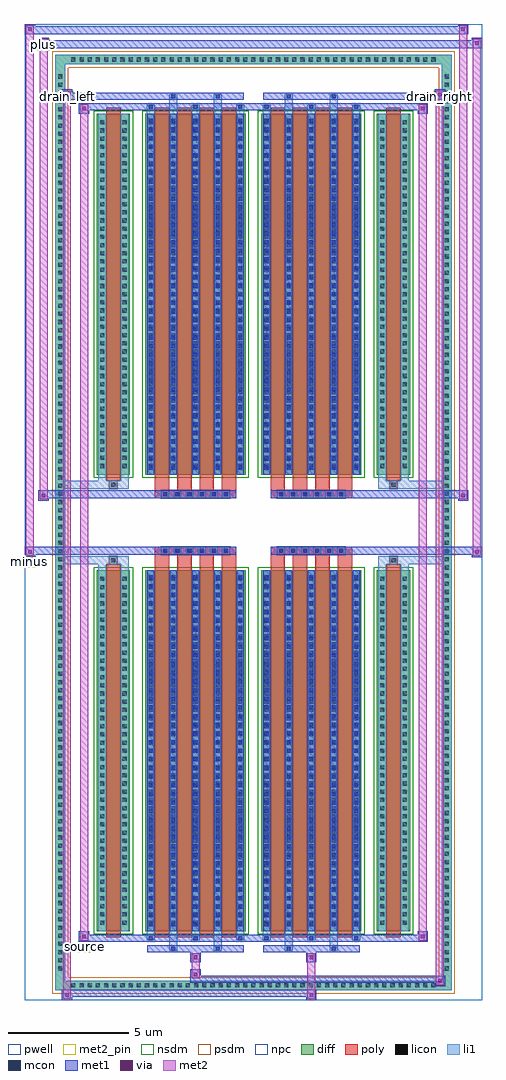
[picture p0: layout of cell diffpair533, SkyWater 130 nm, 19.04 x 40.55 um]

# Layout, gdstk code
import gdstk
lib = gdstk.Library(unit=1e-6, precision=5e-09)
def R(c, l, rs):  # rectangles x0, y0, x1, y1
    for r in rs: c.add(gdstk.rectangle(r[:2], r[2:], *l))
def A(c, l, x, y, w, h, nx, ny, dx, dy):  # array of equal rectangles
    R(c, l, [(x+i*dx, y+j*dy, x+i*dx+w, y+j*dy+h) for i in range(nx) for j in range(ny)])
def P(c, l, *ps):  # polygons
    for p in ps: c.add(gdstk.Polygon(p, *l))
pwell = (64, 44)
diff = (65, 20)
poly = (66, 20)
licon = (66, 44)
li1 = (67, 20)
mcon = (67, 44)
met1 = (68, 20)
via = (68, 44)
met2_pin = (69, 16)
met2 = (69, 20)
nsdm = (93, 44)
psdm = (94, 20)
npc = (95, 20)

diffpair533 = lib.new_cell('diffpair533')
R(diffpair533, pwell, [(-9.5,-19.84,9.5,20.71), (-6.82,-18.03,-0.01,-0.805), (0.01,-18.03,6.82,-0.805), (-6.82,0.805,-0.01,18.03), (0.01,0.805,6.82,18.03)])
A(diffpair533, diff, -7.685, -19.44, 0.41, 0.41, 45, 2, 0.34, 38.47)
A(diffpair533, diff, -8.23, -18.735, 0.41, 0.41, 1, 110, 0, 0.34)
A(diffpair533, diff, 7.82, -18.735, 0.41, 0.41, 1, 110, 0, 0.34)
R(diffpair533, diff, [(-7.685,-19.44,7.685,-19.03), (-8.23,-18.735,-7.82,18.735), (7.82,-18.735,8.23,18.735), (-6.51,-16.985,-5.13,-1.985), (-4.49,-16.985,-0.32,-1.985), (0.32,-16.985,4.49,-1.985), (5.13,-16.985,6.51,-1.985), (-6.51,1.985,-5.13,16.985), (-4.49,1.985,-0.32,16.985), (0.32,1.985,4.49,16.985), (5.13,1.985,6.51,16.985), (-7.685,19.03,7.685,19.44)])
P(diffpair533, diff, [(8.23,19.44),(-8.23,19.44),(-8.23,-19.03),(-7.82,-19.03),(-7.82,19.03),(7.82,19.03),(7.82,-19.03),(-7.82,-19.03),(-8.23,-19.03),(-8.23,-19.44),(8.23,-19.44)])
A(diffpair533, poly, -4.1, -17.235, 0.6, 15.5, 4, 2, 0.93, 18.97)
A(diffpair533, poly, 0.71, -17.235, 0.6, 15.5, 4, 2, 0.93, 18.97)
A(diffpair533, poly, -4.1, -1.735, 0.6, 0.4, 4, 2, 0.93, 3.07)
A(diffpair533, poly, 0.71, -1.735, 0.6, 0.4, 4, 2, 0.93, 3.07)
A(diffpair533, poly, -3.82, -1.335, 0.33, 0.33, 6, 2, 0.5, 2.34)
A(diffpair533, poly, 0.99, -1.335, 0.33, 0.33, 6, 2, 0.5, 2.34)
R(diffpair533, poly, [(-6.12,-17.235,-5.52,-1.735), (5.52,-17.235,6.12,-1.735), (-5.985,-1.735,-5.655,-1.405), (-5.985,-1.735,-5.655,-1.405), (5.655,-1.735,5.985,-1.405), (5.655,-1.735,5.985,-1.405), (-4.1,-1.335,-0.71,-1.005), (0.71,-1.335,4.1,-1.005), (-4.1,1.005,-0.71,1.335), (0.71,1.005,4.1,1.335), (-5.985,1.405,-5.655,1.735), (-5.985,1.405,-5.655,1.735), (5.655,1.405,5.985,1.735), (5.655,1.405,5.985,1.735), (-6.12,1.735,-5.52,17.235), (5.52,1.735,6.12,17.235)])
A(diffpair533, licon, -7.565, -19.32, 0.17, 0.17, 45, 2, 0.34, 38.47)
A(diffpair533, licon, -8.11, -18.615, 0.17, 0.17, 1, 110, 0, 0.34)
A(diffpair533, licon, 7.94, -18.615, 0.17, 0.17, 1, 110, 0, 0.34)
A(diffpair533, licon, -6.37, -16.71, 0.17, 0.17, 1, 43, 0, 0.34)
A(diffpair533, licon, -5.44, -16.71, 0.17, 0.17, 1, 43, 0, 0.34)
A(diffpair533, licon, -4.35, -16.71, 0.17, 0.17, 5, 43, 0.93, 0.34)
A(diffpair533, licon, 0.46, -16.71, 0.17, 0.17, 5, 43, 0.93, 0.34)
A(diffpair533, licon, 5.27, -16.71, 0.17, 0.17, 1, 43, 0, 0.34)
A(diffpair533, licon, 6.2, -16.71, 0.17, 0.17, 1, 43, 0, 0.34)
A(diffpair533, licon, -3.74, -1.255, 0.17, 0.17, 6, 2, 0.5, 2.34)
A(diffpair533, licon, 1.07, -1.255, 0.17, 0.17, 6, 2, 0.5, 2.34)
A(diffpair533, licon, -6.37, 2.26, 0.17, 0.17, 1, 43, 0, 0.34)
A(diffpair533, licon, -5.44, 2.26, 0.17, 0.17, 1, 43, 0, 0.34)
A(diffpair533, licon, -4.35, 2.26, 0.17, 0.17, 5, 43, 0.93, 0.34)
A(diffpair533, licon, 0.46, 2.26, 0.17, 0.17, 5, 43, 0.93, 0.34)
A(diffpair533, licon, 5.27, 2.26, 0.17, 0.17, 1, 43, 0, 0.34)
A(diffpair533, licon, 6.2, 2.26, 0.17, 0.17, 1, 43, 0, 0.34)
R(diffpair533, licon, [(-5.905,-1.655,-5.735,-1.485), (5.735,-1.655,5.905,-1.485), (-5.905,1.485,-5.735,1.655), (5.735,1.485,5.905,1.655)])
A(diffpair533, li1, -7.645, -19.4, 0.33, 0.33, 45, 2, 0.34, 38.47)
A(diffpair533, li1, -8.19, -18.695, 0.33, 0.33, 1, 110, 0, 0.34)
A(diffpair533, li1, 7.86, -18.695, 0.33, 0.33, 1, 110, 0, 0.34)
A(diffpair533, li1, -4.43, -17.36, 0.33, 0.375, 3, 2, 1.86, 34.345)
A(diffpair533, li1, -4.35, -17.36, 0.17, 0.17, 3, 2, 1.86, 34.55)
A(diffpair533, li1, 0.38, -17.36, 0.33, 0.375, 3, 2, 1.86, 34.345)
A(diffpair533, li1, 0.46, -17.36, 0.17, 0.17, 3, 2, 1.86, 34.55)
A(diffpair533, li1, -4.43, -16.985, 0.33, 15, 5, 2, 0.93, 18.97)
A(diffpair533, li1, 0.38, -16.985, 0.33, 15, 5, 2, 0.93, 18.97)
A(diffpair533, li1, -6.45, -16.79, 0.33, 0.33, 1, 43, 0, 0.34)
A(diffpair533, li1, -5.52, -16.79, 0.33, 0.33, 1, 43, 0, 0.34)
A(diffpair533, li1, -4.43, -16.79, 0.33, 0.33, 5, 43, 0.93, 0.34)
A(diffpair533, li1, 0.38, -16.79, 0.33, 0.33, 5, 43, 0.93, 0.34)
A(diffpair533, li1, 5.19, -16.79, 0.33, 0.33, 1, 43, 0, 0.34)
A(diffpair533, li1, 6.12, -16.79, 0.33, 0.33, 1, 43, 0, 0.34)
A(diffpair533, li1, -4.35, -16.77, 0.17, 0.17, 5, 41, 0.93, 0.36)
A(diffpair533, li1, -4.35, -16.77, 0.17, 14.57, 5, 2, 0.93, 18.97)
A(diffpair533, li1, 0.46, -16.77, 0.17, 0.17, 5, 41, 0.93, 0.36)
A(diffpair533, li1, 0.46, -16.77, 0.17, 14.57, 5, 2, 0.93, 18.97)
A(diffpair533, li1, -3.82, -1.335, 0.33, 0.33, 6, 2, 0.5, 2.34)
A(diffpair533, li1, 0.99, -1.335, 0.33, 0.33, 6, 2, 0.5, 2.34)
A(diffpair533, li1, -6.45, 2.18, 0.33, 0.33, 1, 43, 0, 0.34)
A(diffpair533, li1, -5.52, 2.18, 0.33, 0.33, 1, 43, 0, 0.34)
A(diffpair533, li1, -4.43, 2.18, 0.33, 0.33, 5, 43, 0.93, 0.34)
A(diffpair533, li1, 0.38, 2.18, 0.33, 0.33, 5, 43, 0.93, 0.34)
A(diffpair533, li1, 5.19, 2.18, 0.33, 0.33, 1, 43, 0, 0.34)
A(diffpair533, li1, 6.12, 2.18, 0.33, 0.33, 1, 43, 0, 0.34)
A(diffpair533, li1, -4.35, 2.2, 0.17, 0.17, 5, 41, 0.93, 0.36)
A(diffpair533, li1, 0.46, 2.2, 0.17, 0.17, 5, 41, 0.93, 0.36)
R(diffpair533, li1, [(-8.23,-19.44,-7.82,-19.03), (-8.23,-19.44,-7.82,-19.03), (-7.82,-19.44,7.82,-19.03), (7.82,-19.44,8.23,-19.03), (7.82,-19.44,8.23,-19.03), (-8.23,-19.03,-7.82,19.03), (7.82,-19.03,8.23,19.03), (-3.5,-17.79,-3.17,-16.985), (-3.42,-17.79,-3.25,-17.62), (-1.64,-17.79,-1.31,-16.985), (-1.56,-17.79,-1.39,-17.62), (1.31,-17.79,1.64,-16.985), (1.39,-17.79,1.56,-17.62), (3.17,-17.79,3.5,-16.985), (3.25,-17.79,3.42,-17.62), (-6.45,-16.985,-6.12,-1.985), (-5.52,-16.985,-5.19,-1.985), (5.19,-16.985,5.52,-1.985), (6.12,-16.985,6.45,-1.985), (-6.45,-1.985,-6.12,-1.405), (-5.52,-1.985,-5.19,-1.405), (5.19,-1.985,5.52,-1.405), (6.12,-1.985,6.45,-1.405), (-8.23,-1.735,-5.985,-1.405), (-6.45,-1.735,-5.985,-1.405), (-5.985,-1.735,-5.655,-1.405), (-5.655,-1.735,-5.19,-1.405), (5.19,-1.735,5.655,-1.405), (5.655,-1.735,5.985,-1.405), (5.655,-1.735,8.23,-1.405), (5.985,-1.735,6.45,-1.405), (-8.23,1.405,-5.985,1.735), (-6.45,1.405,-5.985,1.735), (-6.45,1.405,-6.12,1.985), (-5.985,1.405,-5.655,1.735), (-5.655,1.405,-5.19,1.735), (-5.52,1.405,-5.19,1.985), (5.19,1.405,5.655,1.735), (5.19,1.405,5.52,1.985), (5.655,1.405,5.985,1.735), (5.655,1.405,8.23,1.735), (5.985,1.405,6.45,1.735), (6.12,1.405,6.45,1.985), (-6.45,1.985,-6.12,16.985), (-5.52,1.985,-5.19,16.985), (5.19,1.985,5.52,16.985), (6.12,1.985,6.45,16.985), (-3.5,16.985,-3.17,17.79), (-1.64,16.985,-1.31,17.79), (1.31,16.985,1.64,17.79), (3.17,16.985,3.5,17.79), (-3.42,17.62,-3.25,17.79), (-1.56,17.62,-1.39,17.79), (1.39,17.62,1.56,17.79), (3.25,17.62,3.42,17.79), (-8.23,19.03,-7.82,19.44), (-8.23,19.03,-7.82,19.44), (-7.82,19.03,7.82,19.44), (7.82,19.03,8.23,19.44), (7.82,19.03,8.23,19.44)])
A(diffpair533, mcon, -4.35, -17.36, 0.17, 0.17, 3, 2, 1.86, 34.55)
A(diffpair533, mcon, 0.46, -17.36, 0.17, 0.17, 3, 2, 1.86, 34.55)
A(diffpair533, mcon, -4.35, -16.77, 0.17, 0.17, 5, 41, 0.93, 0.36)
A(diffpair533, mcon, 0.46, -16.77, 0.17, 0.17, 5, 41, 0.93, 0.36)
A(diffpair533, mcon, -3.74, -1.255, 0.17, 0.17, 6, 2, 0.5, 2.34)
A(diffpair533, mcon, 1.07, -1.255, 0.17, 0.17, 6, 2, 0.5, 2.34)
A(diffpair533, mcon, -4.35, 2.2, 0.17, 0.17, 5, 41, 0.93, 0.36)
A(diffpair533, mcon, 0.46, 2.2, 0.17, 0.17, 5, 41, 0.93, 0.36)
R(diffpair533, mcon, [(-3.42,-17.79,-3.25,-17.62), (-1.56,-17.79,-1.39,-17.62), (1.39,-17.79,1.56,-17.62), (3.25,-17.79,3.42,-17.62), (-3.42,17.62,-3.25,17.79), (-1.56,17.62,-1.39,17.79), (1.39,17.62,1.56,17.79), (3.25,17.62,3.42,17.79)])
A(diffpair533, met1, -4.41, -17.42, 0.29, 0.29, 3, 2, 1.86, 34.55)
A(diffpair533, met1, 0.4, -17.42, 0.29, 0.29, 3, 2, 1.86, 34.55)
A(diffpair533, met1, -4.41, -16.985, 0.29, 15, 5, 2, 0.93, 18.97)
A(diffpair533, met1, 0.4, -16.985, 0.29, 15, 5, 2, 0.93, 18.97)
A(diffpair533, met1, -4.41, -16.83, 0.29, 0.29, 5, 41, 0.93, 0.36)
A(diffpair533, met1, 0.4, -16.83, 0.29, 0.29, 5, 41, 0.93, 0.36)
A(diffpair533, met1, -3.8, -1.315, 0.29, 0.29, 6, 2, 0.5, 2.34)
A(diffpair533, met1, 1.01, -1.315, 0.29, 0.29, 6, 2, 0.5, 2.34)
A(diffpair533, met1, -4.41, 2.14, 0.29, 0.29, 5, 41, 0.93, 0.36)
A(diffpair533, met1, 0.4, 2.14, 0.29, 0.29, 5, 41, 0.93, 0.36)
R(diffpair533, met1, [(-7.96,-19.84,-7.53,-19.41), (2.19,-19.84,2.62,-19.41), (-7.96,-19.7,2.62,-19.41), (7.53,-19.27,7.96,-18.84), (-2.62,-19.13,7.96,-18.84), (-2.62,-18.99,-2.19,-18.56), (-2.62,-18.28,-2.19,-17.85), (2.19,-18.28,2.62,-17.85), (-4.41,-17.85,-0.4,-17.56), (-3.48,-17.85,-3.19,-17.56), (-1.62,-17.85,-1.33,-17.56), (0.4,-17.85,4.41,-17.56), (1.33,-17.85,1.62,-17.56), (3.19,-17.85,3.48,-17.56), (-7.25,-17.42,-6.82,-16.99), (-7.25,-17.42,-4.41,-17.13), (-4.41,-17.42,-0.4,-17.13), (-0.4,-17.42,0.4,-17.13), (0.4,-17.42,4.41,-17.13), (4.41,-17.42,7.25,-17.13), (6.82,-17.42,7.25,-16.99), (-9.5,-1.435,-9.07,-1.005), (9.07,-1.435,9.5,-1.005), (-9.5,-1.335,-0.71,-1.005), (-4.1,-1.335,-0.71,-1.005), (0.71,-1.335,4.1,-1.005), (0.71,-1.335,9.5,-1.005), (-8.93,0.905,-8.5,1.335), (8.5,0.905,8.93,1.335), (-8.93,1.005,-4.1,1.335), (-4.1,1.005,-0.71,1.335), (0.71,1.005,4.1,1.335), (4.1,1.005,8.93,1.335), (-7.25,16.99,-6.82,17.42), (6.82,16.99,7.25,17.42), (-7.25,17.13,-4.41,17.42), (-4.41,17.13,-0.4,17.42), (-0.4,17.13,0.4,17.42), (0.4,17.13,4.41,17.42), (4.41,17.13,7.25,17.42), (-7.96,17.56,-7.53,17.99), (-7.96,17.56,-4.41,17.85), (-4.41,17.56,-0.4,17.85), (-3.48,17.56,-3.19,17.85), (-1.62,17.56,-1.33,17.85), (0.4,17.56,4.41,17.85), (1.33,17.56,1.62,17.85), (3.19,17.56,3.48,17.85), (4.41,17.56,7.96,17.85), (7.53,17.56,7.96,17.99), (-8.93,19.71,-8.5,20.14), (-8.93,19.71,-6.82,20.04), (-6.82,19.71,6.82,20.04), (6.82,19.71,9.5,20.04), (9.07,19.71,9.5,20.14), (-9.5,20.28,-9.07,20.71), (-9.5,20.28,-6.82,20.61), (-6.82,20.28,6.82,20.61), (6.82,20.28,8.93,20.61), (8.5,20.28,8.93,20.71)])
R(diffpair533, via, [(-7.82,-19.7,-7.67,-19.55), (2.33,-19.7,2.48,-19.55), (7.67,-19.13,7.82,-18.98), (-2.48,-18.85,-2.33,-18.7), (-2.48,-18.14,-2.33,-17.99), (2.33,-18.14,2.48,-17.99), (-7.11,-17.28,-6.96,-17.13), (6.96,-17.28,7.11,-17.13), (-9.36,-1.295,-9.21,-1.145), (9.21,-1.295,9.36,-1.145), (-8.79,1.045,-8.64,1.195), (8.64,1.045,8.79,1.195), (-7.11,17.13,-6.96,17.28), (6.96,17.13,7.11,17.28), (-7.82,17.7,-7.67,17.85), (7.67,17.7,7.82,17.85), (-8.79,19.85,-8.64,20), (9.21,19.85,9.36,20), (-9.36,20.42,-9.21,20.57), (8.64,20.42,8.79,20.57)])
R(diffpair533, met2_pin, [(-7.285,-17.87,-6.785,-17.37), (-9.535,-1.885,-9.035,-1.385), (-7.995,17.44,-7.495,17.94), (7.495,17.44,7.995,17.94), (-8.965,19.59,-8.465,20.09)])
R(diffpair533, met2, [(-7.91,-19.79,-7.58,-19.46), (-7.91,-19.79,-7.58,17.94), (2.24,-19.79,2.57,-19.46), (2.24,-19.46,2.57,-18.23), (7.58,-19.22,7.91,-18.89), (7.58,-19.22,7.91,17.94), (-2.57,-18.94,-2.24,-18.61), (-2.57,-18.61,-2.24,-18.23), (-2.57,-18.23,-2.24,-17.9), (2.24,-18.23,2.57,-17.9), (-7.2,-17.37,-6.87,-17.04), (-7.2,-17.37,-6.87,17.37), (6.87,-17.37,7.2,-17.04), (6.87,-17.37,7.2,17.37), (-9.45,-1.385,-9.12,-1.055), (-9.45,-1.385,-9.12,20.66), (9.12,-1.385,9.45,-1.055), (9.12,-1.385,9.45,20.09), (-8.88,0.955,-8.55,1.285), (-8.88,0.955,-8.55,20.09), (8.55,0.955,8.88,1.285), (8.55,0.955,8.88,20.66), (-7.2,17.04,-6.87,17.37), (6.87,17.04,7.2,17.37), (-7.91,17.61,-7.58,17.94), (7.58,17.61,7.91,17.94), (-8.88,19.76,-8.55,20.09), (9.12,19.76,9.45,20.09), (-9.45,20.33,-9.12,20.66), (8.55,20.33,8.88,20.66)])
P(diffpair533, met2, [(9.45,-1.385),(9.45,-1.385),(9.45,-1.055),(9.45,-1.055)],
  [(9.45,19.76),(9.45,19.76),(9.45,20.09),(9.45,20.09)],
  [(-9.12,-1.385),(-9.12,-1.385),(-9.12,-1.055),(-9.12,-1.055)],
  [(-9.12,20.33),(-9.12,20.33),(-9.12,20.66),(-9.12,20.66)],
  [(8.88,0.955),(8.88,0.955),(8.88,1.285),(8.88,1.285)],
  [(8.88,20.33),(8.88,20.33),(8.88,20.66),(8.88,20.66)],
  [(-8.55,0.955),(-8.55,0.955),(-8.55,1.285),(-8.55,1.285)],
  [(-8.55,19.76),(-8.55,19.76),(-8.55,20.09),(-8.55,20.09)],
  [(-7.58,-19.79),(-7.58,-19.79),(-7.58,-19.46),(-7.58,-19.46)],
  [(-7.58,17.61),(-7.58,17.61),(-7.58,17.94),(-7.58,17.94)],
  [(7.91,-19.22),(7.91,-19.22),(7.91,-18.89),(7.91,-18.89)],
  [(7.91,17.61),(7.91,17.61),(7.91,17.94),(7.91,17.94)],
  [(-6.87,-17.37),(-6.87,-17.37),(-6.87,-17.04),(-6.87,-17.04)],
  [(-6.87,17.04),(-6.87,17.04),(-6.87,17.37),(-6.87,17.37)],
  [(7.2,-17.37),(7.2,-17.37),(7.2,-17.04),(7.2,-17.04)],
  [(7.2,17.04),(7.2,17.04),(7.2,17.37),(7.2,17.37)])
R(diffpair533, nsdm, [(-6.64,-17.115,-5,-1.855), (-4.62,-17.115,-0.19,-1.855), (0.19,-17.115,4.62,-1.855), (5,-17.115,6.64,-1.855), (-6.64,1.855,-5,17.115), (-4.62,1.855,-0.19,17.115), (0.19,1.855,4.62,17.115), (5,1.855,6.64,17.115)])
P(diffpair533, psdm, [(8.36,19.57),(-8.36,19.57),(-8.36,-18.9),(-7.69,-18.9),(-7.69,18.9),(7.69,18.9),(7.69,-18.9),(-7.69,-18.9),(-8.36,-18.9),(-8.36,-19.57),(8.36,-19.57)])
A(diffpair533, npc, -3.84, -1.355, 0.37, 0.37, 6, 2, 0.5, 2.34)
A(diffpair533, npc, 0.97, -1.355, 0.37, 0.37, 6, 2, 0.5, 2.34)
R(diffpair533, npc, [(-6.005,-1.755,-5.635,-1.385), (5.635,-1.755,6.005,-1.385), (-3.84,-1.355,-2.97,-0.985), (-3.84,-1.355,-2.97,-0.985), (-3.34,-1.355,-2.47,-0.985), (-3.34,-1.355,-2.47,-0.985), (-2.84,-1.355,-1.97,-0.985), (-2.84,-1.355,-1.97,-0.985), (-2.34,-1.355,-1.47,-0.985), (-2.34,-1.355,-1.47,-0.985), (-1.84,-1.355,-0.97,-0.985), (-1.84,-1.355,-0.97,-0.985), (0.97,-1.355,1.84,-0.985), (0.97,-1.355,1.84,-0.985), (1.47,-1.355,2.34,-0.985), (1.47,-1.355,2.34,-0.985), (1.97,-1.355,2.84,-0.985), (1.97,-1.355,2.84,-0.985), (2.47,-1.355,3.34,-0.985), (2.47,-1.355,3.34,-0.985), (2.97,-1.355,3.84,-0.985), (2.97,-1.355,3.84,-0.985), (-3.84,0.985,-2.97,1.355), (-3.84,0.985,-2.97,1.355), (-3.34,0.985,-2.47,1.355), (-3.34,0.985,-2.47,1.355), (-2.84,0.985,-1.97,1.355), (-2.84,0.985,-1.97,1.355), (-2.34,0.985,-1.47,1.355), (-2.34,0.985,-1.47,1.355), (-1.84,0.985,-0.97,1.355), (-1.84,0.985,-0.97,1.355), (0.97,0.985,1.84,1.355), (0.97,0.985,1.84,1.355), (1.47,0.985,2.34,1.355), (1.47,0.985,2.34,1.355), (1.97,0.985,2.84,1.355), (1.97,0.985,2.84,1.355), (2.47,0.985,3.34,1.355), (2.47,0.985,3.34,1.355), (2.97,0.985,3.84,1.355), (2.97,0.985,3.84,1.355), (-6.005,1.385,-5.635,1.755), (5.635,1.385,6.005,1.755)])
diffpair533.add(gdstk.Label('minus', (-9.285,-1.635), layer=69, texttype=5))
diffpair533.add(gdstk.Label('drain_right', (7.745,17.69), layer=69, texttype=5))
diffpair533.add(gdstk.Label('drain_left', (-7.745,17.69), layer=69, texttype=5))
diffpair533.add(gdstk.Label('source', (-7.035,-17.62), layer=69, texttype=5))
diffpair533.add(gdstk.Label('plus', (-8.715,19.84), layer=69, texttype=5))

lib.write_gds('diffpair533.gds')
